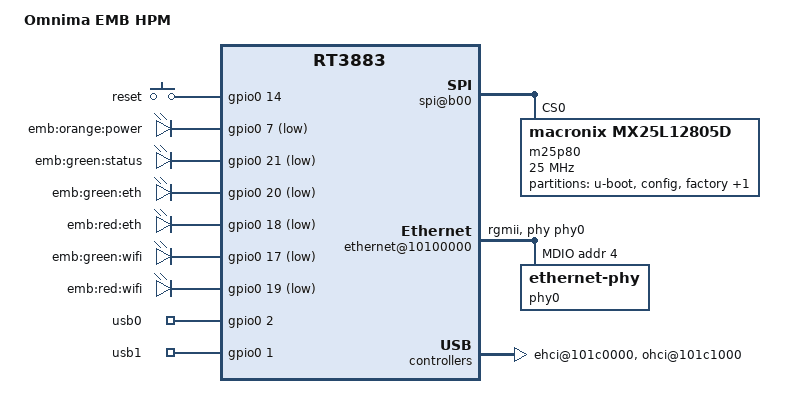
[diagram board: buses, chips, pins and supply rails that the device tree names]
/dts-v1/;

/include/ "rt3883.dtsi"

/ {
	compatible = "OMNI-EMB-HPM", "ralink,rt3883-soc";
	model = "Omnima EMB HPM";

	chosen {
		bootargs = "console=ttyS0,115200";
	};

	palmbus@10000000 {
		spi@b00 {
			status = "okay";

			m25p80@0 {
				compatible = "macronix,mx25l12805d";
				spi-max-frequency = <25000000>;
				reg = <0>;

				#address-cells = <1>;
				#size-cells = <1>;

				partition@0 {
					reg = <0x0 0x0030000>;
					label = "u-boot";
					read-only;
				};

				partition@30000 {
					reg = <0x00030000 0x00010000>;
					label = "config";
					read-only;
				};

				partition@40000 {
					reg = <0x00040000 0x00010000>;
					label = "factory";
					read-only;
				};

				partition@50000 {
					reg = <0x00050000 0x00fb0000>;
					label = "firmware";
				};
			};
		};
	};

	pinctrl {
		state_default: pinctrl0 {
			gpio {
				ralink,group = "i2c", "jtag", "uartf";
				ralink,function = "gpio";
			};
		};
	};

	ethernet@10100000 {
		phy-handle = <&phy0>;
		phy-mode = "rgmii";

		mdio-bus {
			status = "okay";

			phy0: ethernet-phy@4 {
				reg = <4>;
			};
		};
	};

	ehci@101c0000 {
		status = "okay";
	};

	ohci@101c1000 {
		status = "okay";
	};

	gpio-keys-polled {
		compatible = "gpio-keys-polled";
		#address-cells = <1>;
		#size-cells = <0>;
		poll-interval = <100>;
		reset {
			label = "reset";
			gpios = <&gpio0 14 0>;
			linux,code = <0x198>;
		};
	};

	gpio-leds {
		compatible = "gpio-leds";

		power {
			label = "emb:orange:power";
			gpios = <&gpio0 7 1>;
		};
		status {
			label = "emb:green:status";
			gpios = <&gpio0 21 1>;
		};
		eth {
			label = "emb:green:eth";
			gpios = <&gpio0 20 1>;
		};
		eth2 {
			label = "emb:red:eth";
			gpios = <&gpio0 18 1>;
		};
		wifi {
			label = "emb:green:wifi";
			gpios = <&gpio0 17 1>;
		};
		wifi2 {
			label = "emb:red:wifi";
			gpios = <&gpio0 19 1>;
		};
	};

	gpio_export {
		compatible = "gpio-export";
		#size-cells = <0>;
		/* gpio 12 and 13 handle the OC input */
		usb0 {
			gpio-export,name = "usb0";
			gpio-export,output = <1>;
			gpios = <&gpio0 2 0>;
		};
		usb1 {
			gpio-export,name = "usb1";
			gpio-export,output = <1>;
			gpios = <&gpio0 1 0>;
		};
	};
};
